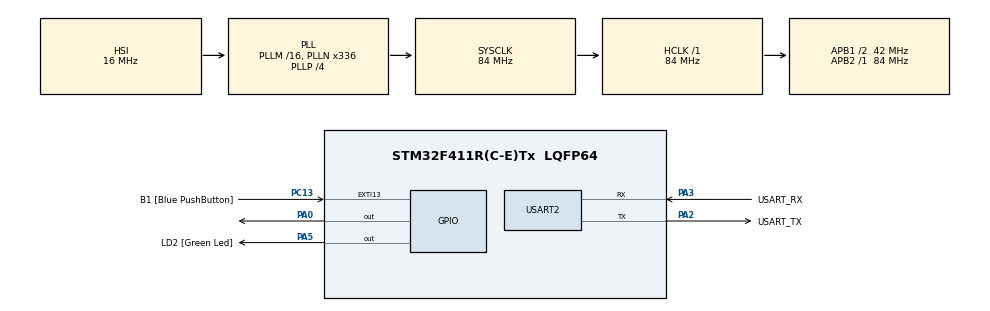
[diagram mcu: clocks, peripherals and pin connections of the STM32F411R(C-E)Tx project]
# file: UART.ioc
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Dma.Request0=USART2_RX
Dma.Request1=USART2_TX
Dma.USART2_RX.0.Direction=DMA_PERIPH_TO_MEMORY
Dma.USART2_RX.0.FIFOMode=DMA_FIFOMODE_DISABLE
Dma.USART2_RX.0.Instance=DMA1_Stream5
Dma.USART2_RX.0.MemDataAlignment=DMA_MDATAALIGN_BYTE
Dma.USART2_RX.0.MemInc=DMA_MINC_ENABLE
Dma.USART2_RX.0.Mode=DMA_CIRCULAR
Dma.USART2_RX.0.PeriphDataAlignment=DMA_PDATAALIGN_BYTE
Dma.USART2_RX.0.PeriphInc=DMA_PINC_DISABLE
Dma.USART2_RX.0.Priority=DMA_PRIORITY_LOW
Dma.USART2_TX.1.Direction=DMA_MEMORY_TO_PERIPH
Dma.USART2_TX.1.FIFOMode=DMA_FIFOMODE_DISABLE
Dma.USART2_TX.1.Instance=DMA1_Stream6
Dma.USART2_TX.1.MemDataAlignment=DMA_MDATAALIGN_BYTE
Dma.USART2_TX.1.MemInc=DMA_MINC_ENABLE
Dma.USART2_TX.1.Mode=DMA_CIRCULAR
Dma.USART2_TX.1.PeriphDataAlignment=DMA_PDATAALIGN_BYTE
Dma.USART2_TX.1.PeriphInc=DMA_PINC_DISABLE
Dma.USART2_TX.1.Priority=DMA_PRIORITY_LOW
Mcu.Family=STM32F4
Mcu.Name=STM32F411R(C-E)Tx
Mcu.Package=LQFP64
NVIC.DMA1_Stream5_IRQn=true\:0\:0\:false\:false\:true\:false\:true\:true
NVIC.DMA1_Stream6_IRQn=true\:0\:0\:false\:false\:true\:false\:true\:true
NVIC.PriorityGroup=NVIC_PRIORITYGROUP_0
NVIC.USART2_IRQn=true\:0\:0\:false\:false\:true\:true\:true\:true
PA0-WKUP.Signal=GPIO_Output
PA13.GPIO_Label=TMS
PA13.Mode=Serial_Wire
PA13.Signal=SYS_JTMS-SWDIO
PA14.GPIO_Label=TCK
PA14.Mode=Serial_Wire
PA14.Signal=SYS_JTCK-SWCLK
PA2.GPIO_Label=USART_TX
PA2.Mode=Asynchronous
PA2.Signal=USART2_TX
PA3.GPIO_Label=USART_RX
PA3.Mode=Asynchronous
PA3.Signal=USART2_RX
PA5.GPIO_Label=LD2 [Green Led]
PA5.Signal=GPIO_Output
PB3.GPIO_Label=SWO
PB3.Signal=SYS_JTDO-SWO
PC13-ANTI_TAMP.GPIO_Label=B1 [Blue PushButton]
PC13-ANTI_TAMP.GPIO_ModeDefaultEXTI=GPIO_MODE_IT_FALLING
PC13-ANTI_TAMP.Signal=GPXTI13
PC14-OSC32_IN.Mode=LSE-External-Oscillator
PC14-OSC32_IN.Signal=RCC_OSC32_IN
PC15-OSC32_OUT.Mode=LSE-External-Oscillator
PC15-OSC32_OUT.Signal=RCC_OSC32_OUT
PH0\ -\ OSC_IN.Mode=HSE-External-Clock-Source
PH0\ -\ OSC_IN.Signal=RCC_OSC_IN
PH1\ -\ OSC_OUT.Mode=HSE-External-Clock-Source
PH1\ -\ OSC_OUT.Signal=RCC_OSC_OUT
ProjectManager.HeapSize=0x200
ProjectManager.StackSize=0x400
ProjectManager.TargetToolchain=STM32CubeIDE
RCC.48MHZClocksFreq_Value=84000000
RCC.AHBFreq_Value=84000000
RCC.APB1CLKDivider=RCC_HCLK_DIV2
RCC.APB1Freq_Value=42000000
RCC.APB1TimFreq_Value=84000000
RCC.APB2Freq_Value=84000000
RCC.APB2TimFreq_Value=84000000
RCC.CortexFreq_Value=84000000
RCC.FLatency-AdvancedSettings=FLASH_LATENCY_2
RCC.HCLKFreq_Value=84000000
RCC.HSE_VALUE=8000000
RCC.HSI_VALUE=16000000
RCC.PLLN=336
RCC.PLLP=RCC_PLLP_DIV4
RCC.SYSCLKFreq_VALUE=84000000
RCC.SYSCLKSource=RCC_SYSCLKSOURCE_PLLCLK
RCC.VCOOutputFreq_Value=336000000
USART2.Parity=PARITY_NONE
USART2.StopBits=STOPBITS_1
USART2.VirtualMode=VM_ASYNC
USART2.WordLength=WORDLENGTH_8B
board=NUCLEO-F411RE

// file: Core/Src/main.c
/* USER CODE BEGIN Header */
/**
  ******************************************************************************
  * @file           : main.c
  * @brief          : Main program body
  ******************************************************************************
  * @attention
  *
  * Copyright (c) 2023 STMicroelectronics.
  * All rights reserved.
  *
  * This software is licensed under terms that can be found in the LICENSE file
  * in the root directory of this software component.
  * If no LICENSE file comes with this software, it is provided AS-IS.
  *
  ******************************************************************************
  */
/* USER CODE END Header */
#include "main.h"

/* USER CODE BEGIN Includes */
#include "stdio.h"
#include "string.h"
/* USER CODE END Includes */

UART_HandleTypeDef huart2;
DMA_HandleTypeDef hdma_usart2_rx;
DMA_HandleTypeDef hdma_usart2_tx;

/* USER CODE BEGIN PV */
uint8_t RxBuffer[20];
uint8_t TxBuffer[40];
uint8_t text[20];
/* USER CODE END PV */

void SystemClock_Config(void);
static void MX_GPIO_Init(void);
static void MX_DMA_Init(void);
static void MX_USART2_UART_Init(void);
/* USER CODE BEGIN PFP */
void UARTPlllingMethod();
void DummyTask();
void UARTInterruptConfig();
/* USER CODE END PFP */

int main(void)
{

  /* MCU Configuration--------------------------------------------------------*/

  /* Reset of all peripherals, Initializes the Flash interface and the Systick. */
  HAL_Init();

  /* Configure the system clock */
  SystemClock_Config();

  /* Initialize all configured peripherals */
  MX_GPIO_Init();
  MX_DMA_Init();
  MX_USART2_UART_Init();
  /* USER CODE BEGIN 2 */
//uint8_t text[] = "HELLO FIBO";
//HAL_UART_Transmit(&huart2,text,11,10);

UARTInterruptConfig();
  /* USER CODE END 2 */

  /* Infinite loop */
  while (1)
  {

    /* USER CODE BEGIN 3 */
	  //UARTPlllingMethod();
	  DummyTask();
	  HAL_GPIO_TogglePin(GPIOA,GPIO_PIN_0);
  }
  /* USER CODE END 3 */
}

void SystemClock_Config(void)
{
  RCC_OscInitTypeDef RCC_OscInitStruct = {0};
  RCC_ClkInitTypeDef RCC_ClkInitStruct = {0};

  /** Configure the main internal regulator output voltage
  */
  __HAL_RCC_PWR_CLK_ENABLE();
  __HAL_PWR_VOLTAGESCALING_CONFIG(PWR_REGULATOR_VOLTAGE_SCALE1);

  /** Initializes the RCC Oscillators according to the specified parameters
  * in the RCC_OscInitTypeDef structure.
  */
  RCC_OscInitStruct.OscillatorType = RCC_OSCILLATORTYPE_HSI;
  RCC_OscInitStruct.HSIState = RCC_HSI_ON;
  RCC_OscInitStruct.HSICalibrationValue = RCC_HSICALIBRATION_DEFAULT;
  RCC_OscInitStruct.PLL.PLLState = RCC_PLL_ON;
  RCC_OscInitStruct.PLL.PLLSource = RCC_PLLSOURCE_HSI;
  RCC_OscInitStruct.PLL.PLLM = 16;
  RCC_OscInitStruct.PLL.PLLN = 336;
  RCC_OscInitStruct.PLL.PLLP = RCC_PLLP_DIV4;
  RCC_OscInitStruct.PLL.PLLQ = 4;
  if (HAL_RCC_OscConfig(&RCC_OscInitStruct) != HAL_OK)
  {
    Error_Handler();
  }

  /** Initializes the CPU, AHB and APB buses clocks
  */
  RCC_ClkInitStruct.ClockType = RCC_CLOCKTYPE_HCLK|RCC_CLOCKTYPE_SYSCLK
                              |RCC_CLOCKTYPE_PCLK1|RCC_CLOCKTYPE_PCLK2;
  RCC_ClkInitStruct.SYSCLKSource = RCC_SYSCLKSOURCE_PLLCLK;
  RCC_ClkInitStruct.AHBCLKDivider = RCC_SYSCLK_DIV1;
  RCC_ClkInitStruct.APB1CLKDivider = RCC_HCLK_DIV2;
  RCC_ClkInitStruct.APB2CLKDivider = RCC_HCLK_DIV1;

  if (HAL_RCC_ClockConfig(&RCC_ClkInitStruct, FLASH_LATENCY_2) != HAL_OK)
  {
    Error_Handler();
  }
}

static void MX_USART2_UART_Init(void)
{

  huart2.Instance = USART2;
  huart2.Init.BaudRate = 115200;
  huart2.Init.WordLength = UART_WORDLENGTH_8B;
  huart2.Init.StopBits = UART_STOPBITS_1;
  huart2.Init.Parity = UART_PARITY_NONE;
  huart2.Init.Mode = UART_MODE_TX_RX;
  huart2.Init.HwFlowCtl = UART_HWCONTROL_NONE;
  huart2.Init.OverSampling = UART_OVERSAMPLING_16;
  if (HAL_UART_Init(&huart2) != HAL_OK)
  {
    Error_Handler();
  }

}

static void MX_DMA_Init(void)
{

  /* DMA controller clock enable */
  __HAL_RCC_DMA1_CLK_ENABLE();

  /* DMA interrupt init */
  /* DMA1_Stream5_IRQn interrupt configuration */
  HAL_NVIC_SetPriority(DMA1_Stream5_IRQn, 0, 0);
  HAL_NVIC_EnableIRQ(DMA1_Stream5_IRQn);
  /* DMA1_Stream6_IRQn interrupt configuration */
  HAL_NVIC_SetPriority(DMA1_Stream6_IRQn, 0, 0);
  HAL_NVIC_EnableIRQ(DMA1_Stream6_IRQn);

}

static void MX_GPIO_Init(void)
{
  GPIO_InitTypeDef GPIO_InitStruct = {0};

  /* GPIO Ports Clock Enable */
  __HAL_RCC_GPIOC_CLK_ENABLE();
  __HAL_RCC_GPIOH_CLK_ENABLE();
  __HAL_RCC_GPIOA_CLK_ENABLE();
  __HAL_RCC_GPIOB_CLK_ENABLE();

  /*Configure GPIO pin Output Level */
  HAL_GPIO_WritePin(GPIOA, GPIO_PIN_0|LD2_Pin, GPIO_PIN_RESET);

  /*Configure GPIO pin : B1_Pin */
  GPIO_InitStruct.Pin = B1_Pin;
  GPIO_InitStruct.Mode = GPIO_MODE_IT_FALLING;
  GPIO_InitStruct.Pull = GPIO_NOPULL;
  HAL_GPIO_Init(B1_GPIO_Port, &GPIO_InitStruct);

  /*Configure GPIO pins : PA0 LD2_Pin */
  GPIO_InitStruct.Pin = GPIO_PIN_0|LD2_Pin;
  GPIO_InitStruct.Mode = GPIO_MODE_OUTPUT_PP;
  GPIO_InitStruct.Pull = GPIO_NOPULL;
  GPIO_InitStruct.Speed = GPIO_SPEED_FREQ_LOW;
  HAL_GPIO_Init(GPIOA, &GPIO_InitStruct);

}

/* USER CODE BEGIN 4 */
void UARTPlllingMethod(){
	HAL_StatusTypeDef HAL_status = HAL_UART_Receive(&huart2, RxBuffer, 10, 10000);
	if(HAL_status==HAL_OK){
		RxBuffer[10]='\0';
		sprintf((char*)TxBuffer,"Received :  %s\r\n",RxBuffer);
		HAL_UART_Transmit(&huart2, TxBuffer, strlen((char*)TxBuffer), 10);
	}
	else if(HAL_status==HAL_TIMEOUT){
		uint32_t lastCharPos = huart2.RxXferSize-huart2.RxXferCount;
		RxBuffer[lastCharPos]='\0';
		sprintf((char*)TxBuffer,"Received TimeOut :  %s\r\n",RxBuffer);
		HAL_UART_Transmit(&huart2, TxBuffer, strlen((char*)TxBuffer), 10);

	}
}
void DummyTask(){
	static uint32_t timestamp=0;
	if(HAL_GetTick()>=timestamp){
		timestamp=HAL_GetTick()+100;
		HAL_GPIO_TogglePin(LD2_GPIO_Port, LD2_Pin);
	}
}
void UARTInterruptConfig(){
	HAL_UART_Receive_DMA(&huart2, RxBuffer, 10);
}
void HAL_UART_RxCpltCallback(UART_HandleTypeDef *huart){
	if(huart==&huart2){
		RxBuffer[10]='\0';
		sprintf((char*)TxBuffer,"Received :  %s\r\n",RxBuffer);
		HAL_UART_Transmit(&huart2, TxBuffer, strlen((char*)TxBuffer), 10);
		HAL_UART_Receive_DMA(&huart2, RxBuffer, 10);
	}
}
/* USER CODE END 4 */

void Error_Handler(void)
{
  __disable_irq();
  while (1)
  {
  }
}
